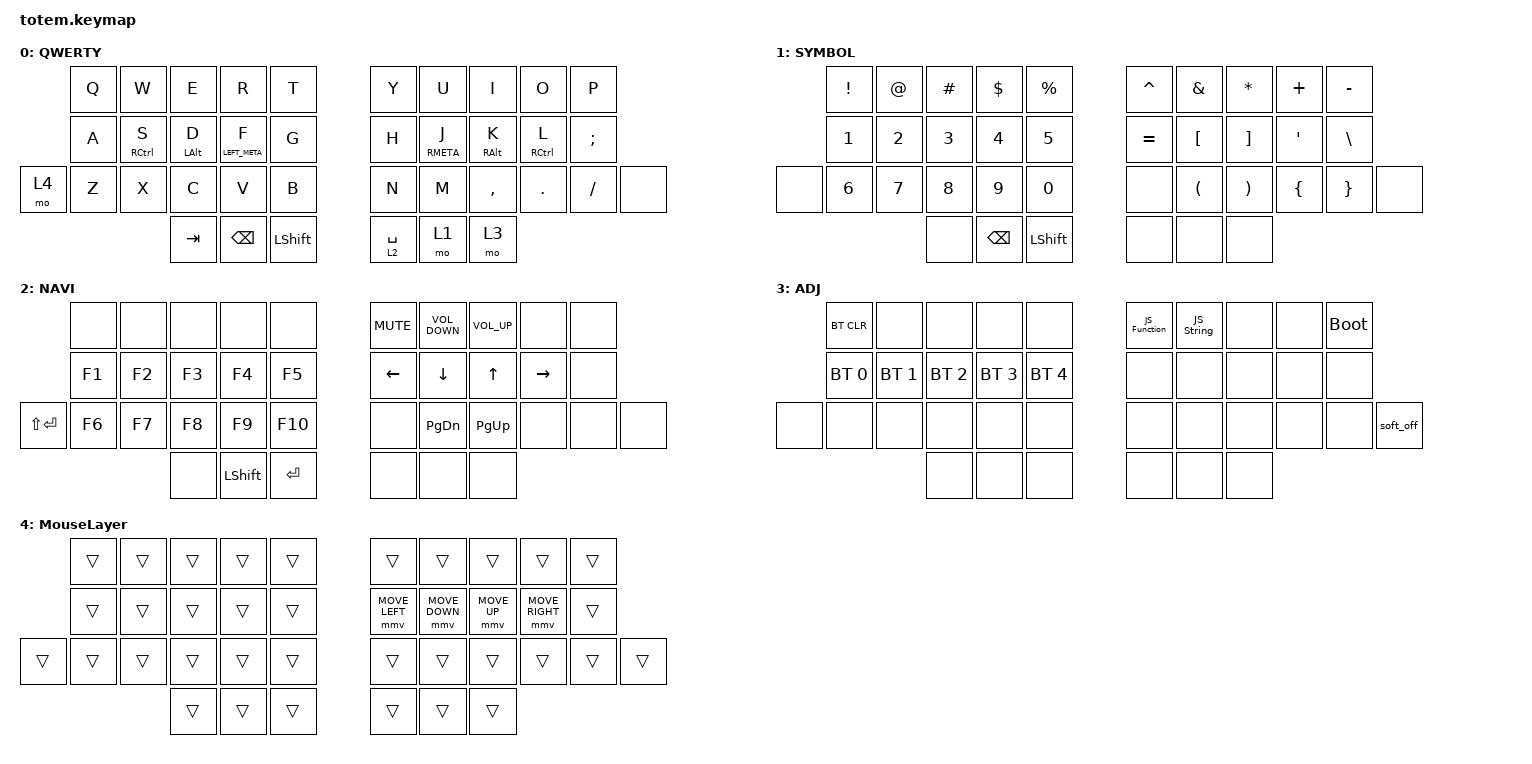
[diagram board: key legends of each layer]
//
//                                                        ▀▀▀▀▀     ▀▀▀▀▀          ▀▀█▀▀
//                                                        ▄▀▀▀▄  ▄  ▄▀▀▀▄  ▄  ▄▀▀▀▄  █  ▄▀▀▀▄
//                                                        █   █  █  █   █  █  █   █  █  █   █
//                                                         ▀▀▀   █   ▀▀▀   █   ▀▀▀   ▀   ▀▀▀
//                                                               █      ▄▄▄█▄▄▄    █   █  
//                                                               ▀      █  █  █     █▄█
//                                                             ▀▀▀▀▀    █  █  █      ▀
//                                                                      ▀  ▀  ▀
//
// ▄▄▄▄▄▄▄▄▄▄▄▄▄▄▄▄▄▄▄▄▄▄▄▄▄▄▄▄▄▄▄▄▄▄▄▄▄▄▄▄▄▄▄▄▄▄▄▄▄▄▄▄▄▄▄▄▄▄▄▄▄▄▄▄▄▄▄▄▄▄▄▄▄▄▄▄▄▄▄▄▄▄▄▄▄▄▄▄▄▄▄▄▄▄▄▄▄▄▄▄▄▄▄▄▄▄▄▄▄▄▄▄▄▄▄▄▄▄▄▄▄▄▄▄▄▄▄▄▄▄▄▄▄▄▄▄▄▄▄▄▄▄▄▄▄▄▄▄▄

#include <behaviors.dtsi>
#include <dt-bindings/zmk/bt.h>
#include <dt-bindings/zmk/keys.h>
#include <dt-bindings/zmk/pointing.h>

#define BASE 0
#define NAV  1
#define SYM  2
#define ADJ  3

&mt {
    quick-tap-ms = <100>;
    flavor = "tap-preferred";
};

/ {
    combos {
        compatible = "zmk,combos";

        esc {
            bindings = <&kp ESCAPE>;
            key-positions = <0 1>;
        };
    };

    macros {
        JS_Function: JS_Function {
            compatible = "zmk,behavior-macro";
            #binding-cells = <0>;
            bindings = <&kp E &kp X &kp P &kp O &kp R &kp T &kp SPACE &kp D &kp E &kp F &kp A &kp U &kp L &kp T &kp SPACE &kp F &kp U &kp N &kp C &kp T &kp I &kp O &kp N &kp SPACE &kp SPACE &kp LPAR &kp RPAR &kp RBKT &kp RET &kp RET &kp RBRC &kp LEFT_ARROW &kp LEFT_ARROW &kp LEFT_ARROW &kp LEFT_ARROW &kp LEFT_ARROW &kp LEFT_ARROW &kp LEFT>;
            label = "JS_FUNCTION";
        };

        JS_String: JS_String {
            compatible = "zmk,behavior-macro";
            #binding-cells = <0>;
            bindings = <&kp GRAVE &kp DLLR &kp RBKT &kp RBRC &kp GRAVE>;
            label = "JS_STRING";
        };
    };

    keymap {
        compatible = "zmk,keymap";

        // ▄▄▄▄▄▄▄▄▄▄▄▄▄▄▄▄▄▄▄▄▄▄▄▄▄▄▄▄▄▄▄▄▄▄▄▄▄▄▄▄▄▄▄▄▄▄▄▄▄▄▄▄▄▄▄▄▄▄▄▄▄▄▄▄▄▄▄▄▄▄▄▄▄▄▄▄▄▄▄▄▄▄▄▄▄▄▄▄▄▄▄▄▄▄▄▄▄▄▄▄▄▄▄▄▄▄▄▄▄▄▄▄▄▄▄▄▄▄▄▄▄▄▄▄▄▄▄▄▄▄▄▄▄▄▄▄▄▄▄▄▄▄▄▄▄▄▄▄▄

        qwerty_layer {
            // ┏━━━━━━━━━━━━━━━━━━━━━━━━━━━━━━━━━━━━━━━┓

            label = "QWERTY";

            // ┗━━━━━━━━━━━━━━━━━━━━━━━━━━━━━━━━━━━━━━━┛
            //             ┏━━━━━━━━━━━┳━━━━━━━━━━━┳━━━━━━━━━━━┳━━━━━━━━━━━┳━━━━━━━━━━━┓   ┏━━━━━━━━━━━┳━━━━━━━━━━━┳━━━━━━━━━━━┳━━━━━━━━━━━┳━━━━━━━━━━━┓
            //             ┃     Q     ┃     W     ┃     F     ┃     P     ┃     G     ┃   ┃     J     ┃     L     ┃     U     ┃     Y     ┃     ;     ┃
            //             ┣━━━━━━━━━━━╋━━━━━━━━━━━╋━━━━━━━━━━━╋━━━━━━━━━━━╋━━━━━━━━━━━┫   ┣━━━━━━━━━━━╋━━━━━━━━━━━╋━━━━━━━━━━━╋━━━━━━━━━━━╋━━━━━━━━━━━┫
            //             ┃     A     ┃     R     ┃     S     ┃     T     ┃     D     ┃   ┃     H     ┃     N     ┃     E     ┃     I     ┃     O     ┃
            // ┏━━━━━━━━━━━╋━━━━━━━━━━━╋━━━━━━━━━━━╋━━━━━━━━━━━╋━━━━━━━━━━━╋━━━━━━━━━━━┫   ┣━━━━━━━━━━━╋━━━━━━━━━━━╋━━━━━━━━━━━╋━━━━━━━━━━━╋━━━━━━━━━━━╋━━━━━━━━━━━┓
            // ┃           ┃     Z     ┃     X     ┃     C     ┃     V     ┃     B     ┃   ┃     K     ┃     M     ┃     ,     ┃     .     ┃     /     ┃           ┃
            // ┗━━━━━━━━━━━┻━━━━━━━━━━━┻━━━━━━━━━━━╋━━━━━━━━━━━╋━━━━━━━━━━━╋━━━━━━━━━━━┫   ┣━━━━━━━━━━━╋━━━━━━━━━━━╋━━━━━━━━━━━╋━━━━━━━━━━━┻━━━━━━━━━━━┻━━━━━━━━━━━┛
            //                                     ┃           ┃    TAB    ┃    SPC    ┃   ┃   ENTER   ┃   BSPC    ┃           ┃
            //                                     ┗━━━━━━━━━━━┻━━━━━━━━━━━┻━━━━━━━━━━━┛   ┗━━━━━━━━━━━┻━━━━━━━━━━━┻━━━━━━━━━━━┛

            bindings = <
       &kp Q  &kp W        &kp E           &kp R            &kp T           &kp Y        &kp U        &kp I            &kp O        &kp P
       &kp A  &mt RCTRL S  &mt LEFT_ALT D  &mt LEFT_META F  &kp G           &kp H        &mt RMETA J  &mt RIGHT_ALT K  &mt RCTRL L  &kp SEMI
&mo 4  &kp Z  &kp X        &kp C           &kp V            &kp B           &kp N        &kp M        &kp COMMA        &kp DOT      &kp FSLH  &none
                           &kp TAB         &kp BACKSPACE    &kp LEFT_SHIFT  &lt 2 SPACE  &mo 1        &mo 3
            >;
        };

        symbol_layer {
            // ┏━━━━━━━━━━━━━━━━━━━━━━━━━━━━━━━━━━━━━━━┓

            label = "SYMBOL";

            // ┗━━━━━━━━━━━━━━━━━━━━━━━━━━━━━━━━━━━━━━━┛
            //             ┏━━━━━━━━━━━┳━━━━━━━━━━━┳━━━━━━━━━━━┳━━━━━━━━━━━┳━━━━━━━━━━━┓   ┏━━━━━━━━━━━┳━━━━━━━━━━━┳━━━━━━━━━━━┳━━━━━━━━━━━┳━━━━━━━━━━━┓
            //             ┃     !     ┃     @     ┃     #     ┃     $     ┃     %     ┃   ┃     ˆ     ┃     &     ┃     Ü     ┃     '     ┃     "     ┃
            //             ┣━━━━━━━━━━━╋━━━━━━━━━━━╋━━━━━━━━━━━╋━━━━━━━━━━━╋━━━━━━━━━━━┫   ┣━━━━━━━━━━━╋━━━━━━━━━━━╋━━━━━━━━━━━╋━━━━━━━━━━━╋━━━━━━━━━━━┫
            //             ┃     Ä     ┃           ┃    SZ     ┃           ┃           ┃   ┃   MUTE    ┃   YEN     ┃   EURO    ┃  POUND    ┃     Ö     ┃
            // ┏━━━━━━━━━━━╋━━━━━━━━━━━╋━━━━━━━━━━━╋━━━━━━━━━━━╋━━━━━━━━━━━╋━━━━━━━━━━━┫   ┣━━━━━━━━━━━╋━━━━━━━━━━━╋━━━━━━━━━━━╋━━━━━━━━━━━╋━━━━━━━━━━━╋━━━━━━━━━━━┓
            // ┃           ┃  EMAIL1   ┃  EMAIL2   ┃           ┃           ┃           ┃   ┃   VOL-    ┃   VOL+    ┃   LAST    ┃   NEXT    ┃     \     ┃           ┃
            // ┗━━━━━━━━━━━┻━━━━━━━━━━━┻━━━━━━━━━━━╋━━━━━━━━━━━╋━━━━━━━━━━━╋━━━━━━━━━━━┫   ┣━━━━━━━━━━━╋━━━━━━━━━━━╋━━━━━━━━━━━╋━━━━━━━━━━━┻━━━━━━━━━━━┻━━━━━━━━━━━┛
            //                                     ┃           ┃    GIF    ┃    ADJ    ┃   ┃           ┃           ┃           ┃
            //                                     ┗━━━━━━━━━━━┻━━━━━━━━━━━┻━━━━━━━━━━━┛   ┗━━━━━━━━━━━┻━━━━━━━━━━━┻━━━━━━━━━━━┛

            bindings = <
       &kp EXCL  &kp AT  &kp POUND  &kp DOLLAR     &kp PERCENT  &kp CARET  &kp AMPS              &kp ASTRK              &kp PLUS          &kp MINUS
       &kp N1    &kp N2  &kp N3     &kp N4         &kp N5       &kp EQUAL  &kp LEFT_BRACKET      &kp RIGHT_BRACKET      &kp SINGLE_QUOTE  &kp BACKSLASH
&none  &kp N6    &kp N7  &kp N8     &kp N9         &kp N0       &none      &kp LEFT_PARENTHESIS  &kp RIGHT_PARENTHESIS  &kp LEFT_BRACE    &kp RIGHT_BRACE  &none
                         &none      &kp BACKSPACE  &kp LSHFT    &none      &none                 &none
            >;
        };

        nav_layer {
            // ┏━━━━━━━━━━━━━━━━━━━━━━━━━━━━━━━━━━━━━━━┓

            label = "NAVI";

            // ┗━━━━━━━━━━━━━━━━━━━━━━━━━━━━━━━━━━━━━━━┛
            //             ┏━━━━━━━━━━━┳━━━━━━━━━━━┳━━━━━━━━━━━┳━━━━━━━━━━━┳━━━━━━━━━━━┓   ┏━━━━━━━━━━━┳━━━━━━━━━━━┳━━━━━━━━━━━┳━━━━━━━━━━━┳━━━━━━━━━━━┓
            //             ┃           ┃           ┃     UP    ┃           ┃     {     ┃   ┃     }     ┃     7     ┃     8     ┃     9     ┃     +     ┃
            //             ┣━━━━━━━━━━━╋━━━━━━━━━━━╋━━━━━━━━━━━╋━━━━━━━━━━━╋━━━━━━━━━━━┫   ┣━━━━━━━━━━━╋━━━━━━━━━━━╋━━━━━━━━━━━╋━━━━━━━━━━━╋━━━━━━━━━━━┫
            //             ┃   SHIFT   ┃   LEFT    ┃    DOWN   ┃   RIGHT   ┃     [     ┃   ┃     ]     ┃     4     ┃     5     ┃     6     ┃     -     ┃
            // ┏━━━━━━━━━━━╋━━━━━━━━━━━╋━━━━━━━━━━━╋━━━━━━━━━━━╋━━━━━━━━━━━╋━━━━━━━━━━━┫   ┣━━━━━━━━━━━╋━━━━━━━━━━━╋━━━━━━━━━━━╋━━━━━━━━━━━╋━━━━━━━━━━━╋━━━━━━━━━━━┓
            // ┃           ┃           ┃   P UP    ┃  C LOCK   ┃  P DOWN   ┃     (     ┃   ┃     )     ┃     1     ┃     2     ┃     3     ┃     *     ┃           ┃
            // ┗━━━━━━━━━━━┻━━━━━━━━━━━┻━━━━━━━━━━━╋━━━━━━━━━━━╋━━━━━━━━━━━╋━━━━━━━━━━━┫   ┣━━━━━━━━━━━╋━━━━━━━━━━━╋━━━━━━━━━━━╋━━━━━━━━━━━┻━━━━━━━━━━━┻━━━━━━━━━━━┛
            //                                     ┃           ┃    TAB    ┃    SPC    ┃   ┃    DEL    ┃     0     ┃           ┃
            //                                     ┗━━━━━━━━━━━┻━━━━━━━━━━━┻━━━━━━━━━━━┛   ┗━━━━━━━━━━━┻━━━━━━━━━━━┻━━━━━━━━━━━┛

            bindings = <
               &none   &none   &none   &none           &none      &kp K_MUTE  &kp C_VOLUME_DOWN  &kp C_VOLUME_UP  &none      &none
               &kp F1  &kp F2  &kp F3  &kp F4          &kp F5     &kp LEFT    &kp DOWN_ARROW     &kp UP_ARROW     &kp RIGHT  &none
&kp LS(ENTER)  &kp F6  &kp F7  &kp F8  &kp F9          &kp F10    &none       &kp PAGE_DOWN      &kp PAGE_UP      &none      &none  &none
                               &none   &kp LEFT_SHIFT  &kp ENTER  &none       &none              &none
            >;
        };

        adjust_layer {
            // ┏━━━━━━━━━━━━━━━━━━━━━━━━━━━━━━━━━━━━━━━┓

            label = "ADJ";

            // ┗━━━━━━━━━━━━━━━━━━━━━━━━━━━━━━━━━━━━━━━┛
            //             ┏━━━━━━━━━━━┳━━━━━━━━━━━┳━━━━━━━━━━━┳━━━━━━━━━━━┳━━━━━━━━━━━┓   ┏━━━━━━━━━━━┳━━━━━━━━━━━┳━━━━━━━━━━━┳━━━━━━━━━━━┳━━━━━━━━━━━┓
            //             ┃   RESET   ┃ BT CLEAR  ┃  OUT TOG  ┃           ┃           ┃   ┃           ┃    F7     ┃    F8     ┃    F9     ┃    F12    ┃
            //             ┣━━━━━━━━━━━╋━━━━━━━━━━━╋━━━━━━━━━━━╋━━━━━━━━━━━╋━━━━━━━━━━━┫   ┣━━━━━━━━━━━╋━━━━━━━━━━━╋━━━━━━━━━━━╋━━━━━━━━━━━╋━━━━━━━━━━━┫
            //             ┃ BOOTLOAD  ┃ BT NEXT   ┃           ┃           ┃           ┃   ┃           ┃    F4     ┃    F5     ┃    F6     ┃    F11    ┃
            // ┏━━━━━━━━━━━╋━━━━━━━━━━━╋━━━━━━━━━━━╋━━━━━━━━━━━╋━━━━━━━━━━━╋━━━━━━━━━━━┫   ┣━━━━━━━━━━━╋━━━━━━━━━━━╋━━━━━━━━━━━╋━━━━━━━━━━━╋━━━━━━━━━━━╋━━━━━━━━━━━┓
            // ┃           ┃           ┃ BT PREV   ┃           ┃           ┃           ┃   ┃           ┃    F1     ┃    F2     ┃    F3     ┃    F10    ┃           ┃
            // ┗━━━━━━━━━━━┻━━━━━━━━━━━┻━━━━━━━━━━━╋━━━━━━━━━━━╋━━━━━━━━━━━╋━━━━━━━━━━━┫   ┣━━━━━━━━━━━╋━━━━━━━━━━━╋━━━━━━━━━━━╋━━━━━━━━━━━┻━━━━━━━━━━━┻━━━━━━━━━━━┛
            //                                     ┃           ┃           ┃           ┃   ┃           ┃           ┃           ┃
            //                                     ┗━━━━━━━━━━━┻━━━━━━━━━━━┻━━━━━━━━━━━┛   ┗━━━━━━━━━━━┻━━━━━━━━━━━┻━━━━━━━━━━━┛

            bindings = <
       &bt BT_CLR    &none         &none         &none         &none         &JS_Function  &JS_String  &none  &none  &bootloader
       &bt BT_SEL 0  &bt BT_SEL 1  &bt BT_SEL 2  &bt BT_SEL 3  &bt BT_SEL 4  &none         &none       &none  &none  &none
&none  &none         &none         &none         &none         &none         &none         &none       &none  &none  &none        &soft_off
                                   &none         &none         &none         &none         &none       &none
            >;
        };

        MouseLayer {
            bindings = <
        &trans  &trans  &trans  &trans  &trans  &trans          &trans          &trans        &trans           &trans
        &trans  &trans  &trans  &trans  &trans  &mmv MOVE_LEFT  &mmv MOVE_DOWN  &mmv MOVE_UP  &mmv MOVE_RIGHT  &trans
&trans  &trans  &trans  &trans  &trans  &trans  &trans          &trans          &trans        &trans           &trans  &trans
                        &trans  &trans  &trans  &trans          &trans          &trans
            >;
        };
    };
};
